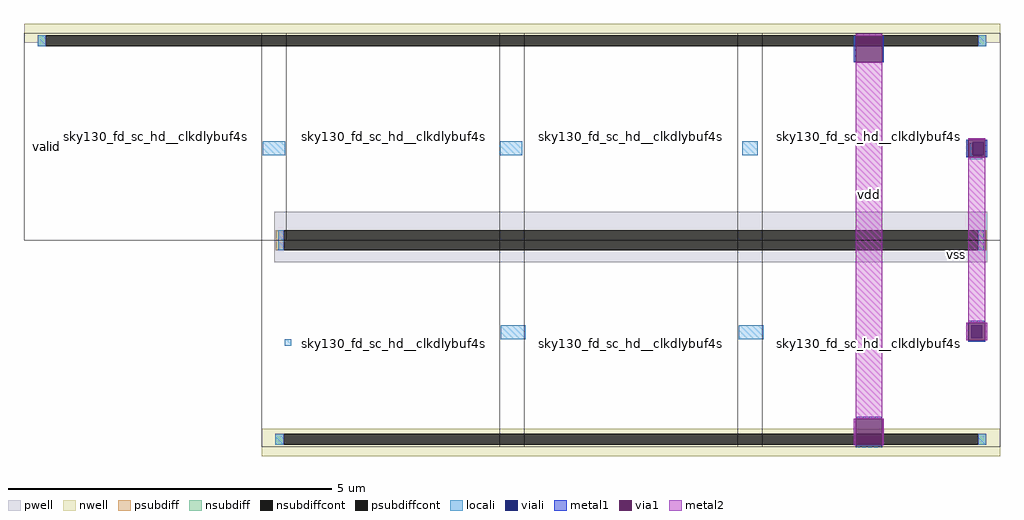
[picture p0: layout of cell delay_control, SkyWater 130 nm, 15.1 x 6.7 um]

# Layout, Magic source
magic
tech sky130A
magscale 1 2
<< nwell >>
rect -774 563 2246 622
rect -731 552 2203 563
rect -38 -717 2246 -632
<< pwell >>
rect 1 -117 2207 40
<< psubdiff >>
rect 5 -79 29 -17
rect 2179 -79 2203 -17
<< nsubdiff >>
rect -731 552 -707 586
rect 2179 552 2203 586
rect 4 -681 29 -647
rect 2179 -681 2203 -647
<< psubdiffcont >>
rect 29 -79 2179 -17
<< nsubdiffcont >>
rect -707 552 2179 586
rect 29 -681 2179 -647
<< locali >>
rect -731 552 -707 586
rect 2179 552 2203 586
rect -713 232 -693 252
rect -36 215 34 258
rect 698 215 768 258
rect 1449 215 1496 258
rect 2153 215 2161 252
rect 2153 202 2191 215
rect 13 -79 29 -17
rect 2179 -79 2195 -17
rect 701 -354 778 -311
rect 1438 -354 1515 -311
rect 33 -375 53 -355
rect 4 -681 29 -647
rect 2179 -681 2203 -647
<< viali >>
rect 2161 215 2195 256
rect 2157 -351 2191 -311
<< metal1 >>
rect 1793 502 1799 584
rect 1881 502 1887 584
rect 2142 209 2148 262
rect 2201 209 2207 262
rect 2102 -103 2122 -83
rect 2148 -304 2201 -298
rect 2148 -363 2201 -357
rect 1799 -601 1881 -595
rect 1799 -689 1881 -683
<< via1 >>
rect 1799 502 1881 584
rect 2148 256 2201 262
rect 2148 215 2161 256
rect 2161 215 2195 256
rect 2195 215 2201 256
rect 2148 209 2201 215
rect 2148 -311 2201 -304
rect 2148 -351 2157 -311
rect 2157 -351 2191 -311
rect 2191 -351 2201 -311
rect 2148 -357 2201 -351
rect 1799 -683 1881 -601
<< metal2 >>
rect 1799 584 1881 590
rect 1799 -601 1881 502
rect 2148 262 2201 268
rect 2148 -304 2201 209
rect 2142 -357 2148 -304
rect 2201 -357 2207 -304
rect 1793 -683 1799 -601
rect 1881 -683 1887 -601
use sky130_fd_sc_hd__clkdlybuf4s50_1  sky130_fd_sc_hd__clkdlybuf4s50_1_0 $PDKPATH/libs.ref/sky130_fd_sc_hd/mag
transform 1 0 0 0 1 0
box -38 -48 774 592
use sky130_fd_sc_hd__clkdlybuf4s50_1  sky130_fd_sc_hd__clkdlybuf4s50_1_1
transform 1 0 736 0 1 0
box -38 -48 774 592
use sky130_fd_sc_hd__clkdlybuf4s50_1  sky130_fd_sc_hd__clkdlybuf4s50_1_2
transform 1 0 1472 0 1 0
box -38 -48 774 592
use sky130_fd_sc_hd__clkdlybuf4s50_1  sky130_fd_sc_hd__clkdlybuf4s50_1_3
transform -1 0 736 0 -1 -96
box -38 -48 774 592
use sky130_fd_sc_hd__clkdlybuf4s50_1  sky130_fd_sc_hd__clkdlybuf4s50_1_4
transform -1 0 1472 0 -1 -96
box -38 -48 774 592
use sky130_fd_sc_hd__clkdlybuf4s50_1  sky130_fd_sc_hd__clkdlybuf4s50_1_5
transform -1 0 2208 0 -1 -96
box -38 -48 774 592
use sky130_fd_sc_hd__clkdlybuf4s50_1  sky130_fd_sc_hd__clkdlybuf4s50_1_6
transform 1 0 -736 0 1 0
box -38 -48 774 592
<< labels >>
flabel metal2 1831 84 1851 104 0 FreeSans 160 0 0 0 vdd
port 0 nsew
flabel locali -713 232 -693 252 0 FreeSans 160 0 0 0 valid
port 2 nsew
flabel locali 33 -375 53 -355 0 FreeSans 160 0 0 0 valid_delayed
port 3 nsew
flabel metal1 2102 -103 2122 -83 0 FreeSans 160 0 0 0 vss
port 1 nsew
<< end >>
